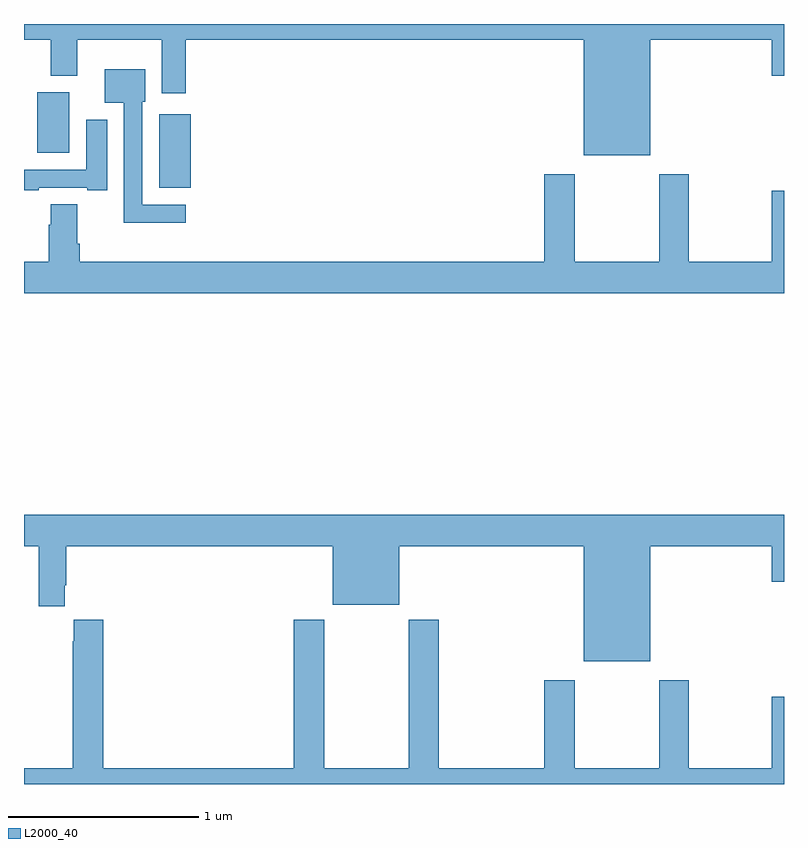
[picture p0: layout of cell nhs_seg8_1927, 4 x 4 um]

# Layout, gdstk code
import gdstk
lib = gdstk.Library(unit=1e-6, precision=1e-09)
def R(c, l, rs):  # rectangles x0, y0, x1, y1
    for r in rs: c.add(gdstk.rectangle(r[:2], r[2:], *l))
def P(c, l, *ps):  # polygons
    for p in ps: c.add(gdstk.Polygon(p, *l))
L2000_40 = (2000, 40)

nhs_seg8_1927 = lib.new_cell('nhs_seg8_1927')
R(nhs_seg8_1927, L2000_40, [(233.711,1133.039,233.878,1133.425), (233.069,1133.222,233.239,1133.542)])
P(nhs_seg8_1927, L2000_40, [(236.296,1133.816),(236.936,1133.816),(236.936,1133.628),(237,1133.628),(237,1133.9),(233,1133.9),(233,1133.816),(233.141,1133.816),(233.141,1133.627),(233.281,1133.627),(233.281,1133.816),(233.726,1133.816),(233.726,1133.535),(233.852,1133.535),(233.852,1133.816),(235.946,1133.816),(235.946,1133.21),(236.296,1133.21)],
  [(233.851,1132.95),(233.622,1132.95),(233.622,1133.49),(233.638,1133.49),(233.638,1133.662),(233.426,1133.662),(233.426,1133.486),(233.526,1133.486),(233.526,1132.853),(233.851,1132.853)],
  [(233.077,1133.037),(233.333,1133.037),(233.333,1133.025),(233.437,1133.025),(233.437,1133.395),(233.327,1133.395),(233.327,1133.133),(233,1133.133),(233,1133.025),(233.077,1133.025)],
  [(237,1133.023),(236.936,1133.023),(236.936,1132.648),(236.499,1132.648),(236.499,1133.11),(236.344,1133.11),(236.344,1132.648),(235.899,1132.648),(235.899,1133.11),(235.739,1133.11),(235.739,1132.648),(233.294,1132.648),(233.294,1132.744),(233.281,1132.744),(233.281,1132.952),(233.141,1132.952),(233.141,1132.844),(233.129,1132.844),(233.129,1132.648),(233,1132.648),(233,1132.484),(237,1132.484)],
  [(233,1131.152),(233.078,1131.152),(233.078,1130.835),(233.215,1130.835),(233.215,1130.947),(233.222,1130.947),(233.222,1131.152),(234.626,1131.152),(234.626,1130.843),(234.976,1130.843),(234.976,1131.152),(235.946,1131.152),(235.946,1130.546),(236.296,1130.546),(236.296,1131.152),(236.936,1131.152),(236.936,1130.964),(237,1130.964),(237,1131.316),(233,1131.316)],
  [(237,1130.359),(236.936,1130.359),(236.936,1129.984),(236.499,1129.984),(236.499,1130.446),(236.344,1130.446),(236.344,1129.984),(235.899,1129.984),(235.899,1130.446),(235.739,1130.446),(235.739,1129.984),(235.184,1129.984),(235.184,1130.764),(235.024,1130.764),(235.024,1129.984),(234.579,1129.984),(234.579,1130.764),(234.419,1130.764),(234.419,1129.984),(233.417,1129.984),(233.417,1130.764),(233.261,1130.764),(233.261,1130.651),(233.257,1130.651),(233.257,1129.984),(233,1129.984),(233,1129.9),(237,1129.9)])

lib.write_gds('nhs_seg8_1927.gds')
